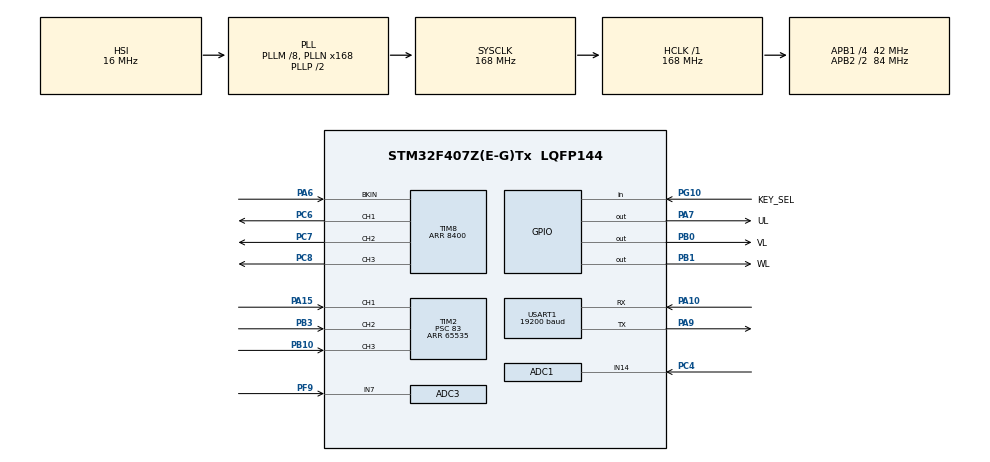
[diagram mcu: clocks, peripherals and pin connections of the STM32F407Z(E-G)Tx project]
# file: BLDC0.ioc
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ADC1.Channel-0\#ChannelRegularConversion=ADC_CHANNEL_14
ADC1.ContinuousConvMode=ENABLE
ADC1.DMAContinuousRequests=ENABLE
ADC1.NbrOfConversionFlag=1
ADC1.Rank-0\#ChannelRegularConversion=1
ADC1.SamplingTime-0\#ChannelRegularConversion=ADC_SAMPLETIME_3CYCLES
ADC1.master=1
ADC3.Channel-1\#ChannelRegularConversion=ADC_CHANNEL_7
ADC3.DMAContinuousRequests=ENABLE
ADC3.NbrOfConversionFlag=1
ADC3.Rank-1\#ChannelRegularConversion=1
ADC3.SamplingTime-1\#ChannelRegularConversion=ADC_SAMPLETIME_3CYCLES
Dma.ADC1.1.Direction=DMA_PERIPH_TO_MEMORY
Dma.ADC1.1.FIFOMode=DMA_FIFOMODE_DISABLE
Dma.ADC1.1.Instance=DMA2_Stream0
Dma.ADC1.1.MemDataAlignment=DMA_MDATAALIGN_HALFWORD
Dma.ADC1.1.MemInc=DMA_MINC_ENABLE
Dma.ADC1.1.Mode=DMA_CIRCULAR
Dma.ADC1.1.PeriphDataAlignment=DMA_PDATAALIGN_HALFWORD
Dma.ADC1.1.PeriphInc=DMA_PINC_DISABLE
Dma.ADC1.1.Priority=DMA_PRIORITY_HIGH
Dma.ADC3.0.Direction=DMA_PERIPH_TO_MEMORY
Dma.ADC3.0.FIFOMode=DMA_FIFOMODE_DISABLE
Dma.ADC3.0.Instance=DMA2_Stream1
Dma.ADC3.0.MemDataAlignment=DMA_MDATAALIGN_HALFWORD
Dma.ADC3.0.MemInc=DMA_MINC_ENABLE
Dma.ADC3.0.Mode=DMA_CIRCULAR
Dma.ADC3.0.PeriphDataAlignment=DMA_PDATAALIGN_HALFWORD
Dma.ADC3.0.PeriphInc=DMA_PINC_DISABLE
Dma.ADC3.0.Priority=DMA_PRIORITY_HIGH
Dma.Request0=ADC3
Dma.Request1=ADC1
Mcu.Family=STM32F4
Mcu.Name=STM32F407Z(E-G)Tx
Mcu.Package=LQFP144
NVIC.DMA2_Stream0_IRQn=true\:0\:0\:false\:false\:true\:false\:true\:true
NVIC.DMA2_Stream1_IRQn=true\:0\:0\:false\:false\:true\:false\:true\:true
NVIC.PriorityGroup=NVIC_PRIORITYGROUP_4
NVIC.TIM2_IRQn=true\:0\:0\:false\:false\:true\:true\:true\:true
NVIC.TIM3_IRQn=true\:0\:0\:false\:false\:true\:true\:true\:true
NVIC.TIM8_BRK_TIM12_IRQn=true\:0\:0\:false\:false\:true\:true\:true\:true
NVIC.USART1_IRQn=true\:0\:0\:false\:false\:true\:true\:true\:true
PA10.Mode=Asynchronous
PA10.Signal=USART1_RX
PA13.Mode=Serial_Wire
PA13.Signal=SYS_JTMS-SWDIO
PA14.Mode=Serial_Wire
PA14.Signal=SYS_JTCK-SWCLK
PA15.GPIO_Speed=GPIO_SPEED_FREQ_HIGH
PA15.Signal=S_TIM2_CH1_ETR
PA6.Mode=Activate-Break-Input
PA6.Signal=TIM8_BKIN
PA7.GPIO_Label=UL
PA7.GPIO_PuPd=GPIO_PULLUP
PA7.GPIO_Speed=GPIO_SPEED_FREQ_VERY_HIGH
PA7.Signal=GPIO_Output
PA9.Mode=Asynchronous
PA9.Signal=USART1_TX
PB0.GPIO_Label=VL
PB0.GPIO_PuPd=GPIO_PULLUP
PB0.GPIO_Speed=GPIO_SPEED_FREQ_VERY_HIGH
PB0.Signal=GPIO_Output
PB1.GPIO_Label=WL
PB1.GPIO_PuPd=GPIO_PULLUP
PB1.GPIO_Speed=GPIO_SPEED_FREQ_VERY_HIGH
PB1.Signal=GPIO_Output
PB10.GPIO_Speed=GPIO_SPEED_FREQ_HIGH
PB10.Signal=S_TIM2_CH3
PB3.GPIO_Speed=GPIO_SPEED_FREQ_HIGH
PB3.Signal=S_TIM2_CH2
PC4.Signal=ADCx_IN14
PC6.GPIO_Speed=GPIO_SPEED_FREQ_VERY_HIGH
PC6.Signal=S_TIM8_CH1
PC7.GPIO_Speed=GPIO_SPEED_FREQ_VERY_HIGH
PC7.Signal=S_TIM8_CH2
PC8.GPIO_Speed=GPIO_SPEED_FREQ_VERY_HIGH
PC8.Signal=S_TIM8_CH3
PF9.Mode=IN7
PF9.Signal=ADC3_IN7
PG10.GPIO_Label=KEY_SEL
PG10.GPIO_PuPd=GPIO_PULLUP
PG10.Signal=GPIO_Input
PH0-OSC_IN.Signal=RCC_OSC_IN
PH1-OSC_OUT.Signal=RCC_OSC_OUT
ProjectManager.HeapSize=0x200
ProjectManager.StackSize=0x400
ProjectManager.TargetToolchain=MDK-ARM V5
RCC.48MHZClocksFreq_Value=84000000
RCC.AHBFreq_Value=168000000
RCC.APB1CLKDivider=RCC_HCLK_DIV4
RCC.APB1Freq_Value=42000000
RCC.APB1TimFreq_Value=84000000
RCC.APB2CLKDivider=RCC_HCLK_DIV2
RCC.APB2Freq_Value=84000000
RCC.APB2TimFreq_Value=168000000
RCC.CortexFreq_Value=168000000
RCC.HCLKFreq_Value=168000000
RCC.HSE_VALUE=25000000
RCC.HSI_VALUE=16000000
RCC.LSE_VALUE=32768
RCC.PLLM=8
RCC.PLLN=168
RCC.SYSCLKFreq_VALUE=168000000
RCC.SYSCLKSource=RCC_SYSCLKSOURCE_PLLCLK
RCC.VCOOutputFreq_Value=336000000
SH.ADCx_IN14.0=ADC1_IN14,IN14
SH.S_TIM2_CH1_ETR.0=TIM2_CH1,Input_Capture1_from_TI1
SH.S_TIM2_CH2.0=TIM2_CH2,Input_Capture2_from_TI2
SH.S_TIM2_CH3.0=TIM2_CH3,Input_Capture3_from_TI3
SH.S_TIM8_CH1.0=TIM8_CH1,PWM Generation1 CH1
SH.S_TIM8_CH2.0=TIM8_CH2,PWM Generation2 CH2
SH.S_TIM8_CH3.0=TIM8_CH3,PWM Generation3 CH3
TIM2.AutoReloadPreload=TIM_AUTORELOAD_PRELOAD_ENABLE
TIM2.Channel-Input_Capture1_from_TI1=TIM_CHANNEL_1
TIM2.Channel-Input_Capture2_from_TI2=TIM_CHANNEL_2
TIM2.Channel-Input_Capture3_from_TI3=TIM_CHANNEL_3
TIM2.ICFilter_CH1=8
TIM2.ICFilter_CH2=8
TIM2.ICFilter_CH3=8
TIM2.ICPolarity_CH1=TIM_INPUTCHANNELPOLARITY_BOTHEDGE
TIM2.ICPolarity_CH2=TIM_INPUTCHANNELPOLARITY_BOTHEDGE
TIM2.ICPolarity_CH3=TIM_INPUTCHANNELPOLARITY_BOTHEDGE
TIM2.Period=65535
TIM2.Prescaler=83
TIM3.AutoReloadPreload=TIM_AUTORELOAD_PRELOAD_ENABLE
TIM3.Period=9
TIM3.Prescaler=8399
TIM8.AutoReloadPreload=TIM_AUTORELOAD_PRELOAD_ENABLE
TIM8.BreakPolarity=TIM_BREAKPOLARITY_LOW
TIM8.Channel-PWM\ Generation1\ CH1=TIM_CHANNEL_1
TIM8.Channel-PWM\ Generation2\ CH2=TIM_CHANNEL_2
TIM8.Channel-PWM\ Generation3\ CH3=TIM_CHANNEL_3
TIM8.OffStateIDLEMode=TIM_OSSI_ENABLE
TIM8.OffStateRunMode=TIM_OSSR_ENABLE
TIM8.Period=8400
USART1.BaudRate=19200
USART1.VirtualMode=VM_ASYNC
VP_TIM2_VS_ClockSourceINT.Mode=Internal
VP_TIM2_VS_XOR.Mode=XOR_enable
VP_TIM3_VS_ClockSourceINT.Mode=Internal
VP_TIM8_VS_ClockSourceINT.Mode=Internal
board=custom

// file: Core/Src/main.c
/* USER CODE BEGIN Header */
/**
  ******************************************************************************
  * @file           : main.c
  * @brief          : Main program body
  ******************************************************************************
  * @attention
  *
  * Copyright (c) 2022 STMicroelectronics.
  * All rights reserved.
  *
  * This software is licensed under terms that can be found in the LICENSE file
  * in the root directory of this software component.
  * If no LICENSE file comes with this software, it is provided AS-IS.
  *
  ******************************************************************************
  */
/* USER CODE END Header */
#include "main.h"

/* USER CODE BEGIN Includes */
#include "stm32_2.8_lcd.h"
#include "pid.h"
#include <stdio.h>
#include <string.h>
//#include "pid.h"
/* USER CODE END Includes */

/* USER CODE BEGIN PD */
#define TIM8_CH1_ON HAL_TIM_PWM_Start(&htim8,TIM_CHANNEL_1)
#define TIM8_CH2_ON HAL_TIM_PWM_Start(&htim8,TIM_CHANNEL_2)
#define TIM8_CH3_ON HAL_TIM_PWM_Start(&htim8,TIM_CHANNEL_3)

#define TIM8_CH1_OFF HAL_TIM_PWM_Stop(&htim8,TIM_CHANNEL_1)
#define TIM8_CH2_OFF HAL_TIM_PWM_Stop(&htim8,TIM_CHANNEL_2)
#define TIM8_CH3_OFF HAL_TIM_PWM_Stop(&htim8,TIM_CHANNEL_3)

#define GPIO_OUT1_ON HAL_GPIO_WritePin(UL_GPIO_Port,UL_Pin,GPIO_PIN_SET);
#define GPIO_OUT1_OFF HAL_GPIO_WritePin(UL_GPIO_Port,UL_Pin,GPIO_PIN_RESET);
#define GPIO_OUT2_ON HAL_GPIO_WritePin(VL_GPIO_Port,VL_Pin,GPIO_PIN_SET);
#define GPIO_OUT2_OFF HAL_GPIO_WritePin(VL_GPIO_Port,VL_Pin,GPIO_PIN_RESET);
#define GPIO_OUT3_ON HAL_GPIO_WritePin(WL_GPIO_Port,WL_Pin,GPIO_PIN_SET);
#define GPIO_OUT3_OFF HAL_GPIO_WritePin(WL_GPIO_Port,WL_Pin,GPIO_PIN_RESET);

#define MIN 0
#define T 	10

/* USER CODE END PD */

HAL_StatusTypeDef har_status1=HAL_OK;
HAL_StatusTypeDef har_status2;

ADC_HandleTypeDef hadc1;
ADC_HandleTypeDef hadc3;
DMA_HandleTypeDef hdma_adc1;
DMA_HandleTypeDef hdma_adc3;

TIM_HandleTypeDef htim2;
TIM_HandleTypeDef htim3;
TIM_HandleTypeDef htim8;

UART_HandleTypeDef huart1;

/* USER CODE BEGIN PV */

uint8_t state=0;
uint8_t hall_a;
uint8_t hall_b;
uint8_t hall_c;
uint32_t ADC_ConvertedValue;
uint32_t vbuf;
float Voltage;
float speed=0;
int cnt=0;
uint16_t k=0;
double RV1=7.32;
double RV2=1120;
uint32_t tim2cnt=0;
uint16_t pid_cnt=0;
/* USER CODE END PV */

void SystemClock_Config(void);
static void MX_GPIO_Init(void);
static void MX_DMA_Init(void);
static void MX_ADC1_Init(void);
static void MX_ADC3_Init(void);
static void MX_TIM2_Init(void);
static void MX_TIM3_Init(void);
static void MX_TIM8_Init(void);
static void MX_USART1_UART_Init(void);

int main(void)
{

  /* MCU Configuration--------------------------------------------------------*/

  /* Reset of all peripherals, Initializes the Flash interface and the Systick. */
  HAL_Init();

  /* Configure the system clock */
  SystemClock_Config();

  /* Initialize all configured peripherals */
  MX_GPIO_Init();
  MX_DMA_Init();
  MX_ADC1_Init();
  MX_ADC3_Init();
  MX_TIM2_Init();
  MX_TIM3_Init();
  MX_TIM8_Init();
  MX_USART1_UART_Init();
  /* USER CODE BEGIN 2 */

	/*******初始化操作******/

	HAL_NVIC_DisableIRQ(DMA2_Stream0_IRQn);
	__HAL_TIM_ENABLE_IT(&htim8,TIM_IT_BREAK);

	HAL_TIM_IC_Start_IT(&htim2,TIM_CHANNEL_1);
	HAL_TIM_IC_Start_IT(&htim2,TIM_CHANNEL_2);
	HAL_TIM_IC_Start_IT(&htim2,TIM_CHANNEL_3);

	HAL_TIM_PWM_Start(&htim8,TIM_CHANNEL_1);
	HAL_TIM_PWM_Start(&htim8,TIM_CHANNEL_2);
	HAL_TIM_PWM_Start(&htim8,TIM_CHANNEL_3);

	HAL_TIM_Base_Start_IT(&htim3);

	STM32_LCD_Init();
	LCD_Clear(BackColor);
	LCD_SetTextColor(Blue);
	ADC_ConvertedValue=0;

	LCD_DisplayStringLine(0,"RP:");
	LCD_DisplayStringLine(2,"PWM:");
	LCD_DisplayStringLine(4,"EXPECTED SPEED:");
	LCD_DisplayStringLine(6,"SPEED:");
	LCD_DisplayStringLine(8,"VOLTAGE:");

  /* USER CODE END 2 */

  /* Infinite loop */
  /* USER CODE BEGIN WHILE */
  while (1)
  {
		//读取adc3的值，得到电位器数值
		har_status1=HAL_ADC_Start_DMA(&hadc3,&ADC_ConvertedValue,1);

		//根据PID控制器输出设置PWM占空比
		if(har_status1==HAL_OK){
			if(ADC_ConvertedValue>MIN){
				__HAL_TIM_SetCompare(&htim8, TIM_CHANNEL_1, PWM_u);
				__HAL_TIM_SetCompare(&htim8, TIM_CHANNEL_2, PWM_u);
				__HAL_TIM_SetCompare(&htim8, TIM_CHANNEL_3, PWM_u);
			}
			else{
				__HAL_TIM_SetCompare(&htim8, TIM_CHANNEL_1, MIN);
				__HAL_TIM_SetCompare(&htim8, TIM_CHANNEL_2, MIN);
				__HAL_TIM_SetCompare(&htim8, TIM_CHANNEL_3, MIN);
			}
		}

		//读取adc1的值，得到母线电压原始数据
		har_status2=HAL_ADC_Start_DMA(&hadc1,&vbuf,1);
		//根据原始数据计算母线电压的值
		if(har_status2==HAL_OK){
			Voltage =vbuf/4096.0f*3300.0f/RV1*(RV1+RV2);
		}

		//检测按键是否按下
		if(HAL_GPIO_ReadPin(KEY_SEL_GPIO_Port,KEY_SEL_Pin)==GPIO_PIN_RESET){
			//按键消抖
			HAL_Delay(5);
			if(HAL_GPIO_ReadPin(KEY_SEL_GPIO_Port,KEY_SEL_Pin)==GPIO_PIN_RESET){
				//改变电机的启停状态
				state=1-state;
				//状态为1，启动电机
				if(state==1){
					HAL_TIM_IC_CaptureCallback(&htim2);
					HAL_Delay(5);
					HAL_TIM_IC_CaptureCallback(&htim2);
				}
			}
		}

		//向上位机发送期望速度和实际速度
		printf("%f,%f\r\n",r,y);

		//每进入main循环500次，更新LCD显示内容
		if(k==20){
			LCD_Draw_NUM(20,200,ADC_ConvertedValue);//显示电位器的值
			LCD_Draw_NUM(70,200,PWM_u*100/8400);//显示占空比
			LCD_Draw_NUM(120,200,r);//显示期望速度
			LCD_Draw_NUM(170,200,speed);//显示实际速度
			LCD_Draw_NUM(220,200,Voltage);//显示母线电压

			k=0;
		}
		else{
			k++;
		}

    /* USER CODE END WHILE */

  }
}

void SystemClock_Config(void)
{
  RCC_OscInitTypeDef RCC_OscInitStruct = {0};
  RCC_ClkInitTypeDef RCC_ClkInitStruct = {0};

  /** Configure the main internal regulator output voltage
  */
  __HAL_RCC_PWR_CLK_ENABLE();
  __HAL_PWR_VOLTAGESCALING_CONFIG(PWR_REGULATOR_VOLTAGE_SCALE1);

  /** Initializes the RCC Oscillators according to the specified parameters
  * in the RCC_OscInitTypeDef structure.
  */
  RCC_OscInitStruct.OscillatorType = RCC_OSCILLATORTYPE_HSI;
  RCC_OscInitStruct.HSIState = RCC_HSI_ON;
  RCC_OscInitStruct.HSICalibrationValue = RCC_HSICALIBRATION_DEFAULT;
  RCC_OscInitStruct.PLL.PLLState = RCC_PLL_ON;
  RCC_OscInitStruct.PLL.PLLSource = RCC_PLLSOURCE_HSI;
  RCC_OscInitStruct.PLL.PLLM = 8;
  RCC_OscInitStruct.PLL.PLLN = 168;
  RCC_OscInitStruct.PLL.PLLP = RCC_PLLP_DIV2;
  RCC_OscInitStruct.PLL.PLLQ = 4;
  if (HAL_RCC_OscConfig(&RCC_OscInitStruct) != HAL_OK)
  {
    Error_Handler();
  }

  /** Initializes the CPU, AHB and APB buses clocks
  */
  RCC_ClkInitStruct.ClockType = RCC_CLOCKTYPE_HCLK|RCC_CLOCKTYPE_SYSCLK
                              |RCC_CLOCKTYPE_PCLK1|RCC_CLOCKTYPE_PCLK2;
  RCC_ClkInitStruct.SYSCLKSource = RCC_SYSCLKSOURCE_PLLCLK;
  RCC_ClkInitStruct.AHBCLKDivider = RCC_SYSCLK_DIV1;
  RCC_ClkInitStruct.APB1CLKDivider = RCC_HCLK_DIV4;
  RCC_ClkInitStruct.APB2CLKDivider = RCC_HCLK_DIV2;

  if (HAL_RCC_ClockConfig(&RCC_ClkInitStruct, FLASH_LATENCY_5) != HAL_OK)
  {
    Error_Handler();
  }
}

static void MX_ADC1_Init(void)
{

  ADC_ChannelConfTypeDef sConfig = {0};

  /** Configure the global features of the ADC (Clock, Resolution, Data Alignment and number of conversion)
  */
  hadc1.Instance = ADC1;
  hadc1.Init.ClockPrescaler = ADC_CLOCK_SYNC_PCLK_DIV4;
  hadc1.Init.Resolution = ADC_RESOLUTION_12B;
  hadc1.Init.ScanConvMode = DISABLE;
  hadc1.Init.ContinuousConvMode = ENABLE;
  hadc1.Init.DiscontinuousConvMode = DISABLE;
  hadc1.Init.ExternalTrigConvEdge = ADC_EXTERNALTRIGCONVEDGE_NONE;
  hadc1.Init.ExternalTrigConv = ADC_SOFTWARE_START;
  hadc1.Init.DataAlign = ADC_DATAALIGN_RIGHT;
  hadc1.Init.NbrOfConversion = 1;
  hadc1.Init.DMAContinuousRequests = ENABLE;
  hadc1.Init.EOCSelection = ADC_EOC_SINGLE_CONV;
  if (HAL_ADC_Init(&hadc1) != HAL_OK)
  {
    Error_Handler();
  }

  /** Configure for the selected ADC regular channel its corresponding rank in the sequencer and its sample time.
  */
  sConfig.Channel = ADC_CHANNEL_14;
  sConfig.Rank = 1;
  sConfig.SamplingTime = ADC_SAMPLETIME_3CYCLES;
  if (HAL_ADC_ConfigChannel(&hadc1, &sConfig) != HAL_OK)
  {
    Error_Handler();
  }

}

static void MX_ADC3_Init(void)
{

  ADC_ChannelConfTypeDef sConfig = {0};

  /** Configure the global features of the ADC (Clock, Resolution, Data Alignment and number of conversion)
  */
  hadc3.Instance = ADC3;
  hadc3.Init.ClockPrescaler = ADC_CLOCK_SYNC_PCLK_DIV4;
  hadc3.Init.Resolution = ADC_RESOLUTION_12B;
  hadc3.Init.ScanConvMode = DISABLE;
  hadc3.Init.ContinuousConvMode = DISABLE;
  hadc3.Init.DiscontinuousConvMode = DISABLE;
  hadc3.Init.ExternalTrigConvEdge = ADC_EXTERNALTRIGCONVEDGE_NONE;
  hadc3.Init.ExternalTrigConv = ADC_SOFTWARE_START;
  hadc3.Init.DataAlign = ADC_DATAALIGN_RIGHT;
  hadc3.Init.NbrOfConversion = 1;
  hadc3.Init.DMAContinuousRequests = ENABLE;
  hadc3.Init.EOCSelection = ADC_EOC_SINGLE_CONV;
  if (HAL_ADC_Init(&hadc3) != HAL_OK)
  {
    Error_Handler();
  }

  /** Configure for the selected ADC regular channel its corresponding rank in the sequencer and its sample time.
  */
  sConfig.Channel = ADC_CHANNEL_7;
  sConfig.Rank = 1;
  sConfig.SamplingTime = ADC_SAMPLETIME_3CYCLES;
  if (HAL_ADC_ConfigChannel(&hadc3, &sConfig) != HAL_OK)
  {
    Error_Handler();
  }

}

static void MX_TIM2_Init(void)
{

  TIM_ClockConfigTypeDef sClockSourceConfig = {0};
  TIM_MasterConfigTypeDef sMasterConfig = {0};
  TIM_IC_InitTypeDef sConfigIC = {0};

  htim2.Instance = TIM2;
  htim2.Init.Prescaler = 83;
  htim2.Init.CounterMode = TIM_COUNTERMODE_UP;
  htim2.Init.Period = 65535;
  htim2.Init.ClockDivision = TIM_CLOCKDIVISION_DIV1;
  htim2.Init.AutoReloadPreload = TIM_AUTORELOAD_PRELOAD_ENABLE;
  if (HAL_TIM_Base_Init(&htim2) != HAL_OK)
  {
    Error_Handler();
  }
  sClockSourceConfig.ClockSource = TIM_CLOCKSOURCE_INTERNAL;
  if (HAL_TIM_ConfigClockSource(&htim2, &sClockSourceConfig) != HAL_OK)
  {
    Error_Handler();
  }
  if (HAL_TIM_IC_Init(&htim2) != HAL_OK)
  {
    Error_Handler();
  }
  sMasterConfig.MasterOutputTrigger = TIM_TRGO_RESET;
  sMasterConfig.MasterSlaveMode = TIM_MASTERSLAVEMODE_DISABLE;
  if (HAL_TIMEx_MasterConfigSynchronization(&htim2, &sMasterConfig) != HAL_OK)
  {
    Error_Handler();
  }
  sConfigIC.ICPolarity = TIM_INPUTCHANNELPOLARITY_BOTHEDGE;
  sConfigIC.ICSelection = TIM_ICSELECTION_DIRECTTI;
  sConfigIC.ICPrescaler = TIM_ICPSC_DIV1;
  sConfigIC.ICFilter = 8;
  if (HAL_TIM_IC_ConfigChannel(&htim2, &sConfigIC, TIM_CHANNEL_1) != HAL_OK)
  {
    Error_Handler();
  }
  if (HAL_TIM_IC_ConfigChannel(&htim2, &sConfigIC, TIM_CHANNEL_2) != HAL_OK)
  {
    Error_Handler();
  }
  if (HAL_TIM_IC_ConfigChannel(&htim2, &sConfigIC, TIM_CHANNEL_3) != HAL_OK)
  {
    Error_Handler();
  }
  if (HAL_TIM_ConfigTI1Input(&htim2, TIM_TI1SELECTION_XORCOMBINATION) != HAL_OK)
  {
    Error_Handler();
  }

}

static void MX_TIM3_Init(void)
{

  TIM_ClockConfigTypeDef sClockSourceConfig = {0};
  TIM_MasterConfigTypeDef sMasterConfig = {0};

  htim3.Instance = TIM3;
  htim3.Init.Prescaler = 8399;
  htim3.Init.CounterMode = TIM_COUNTERMODE_UP;
  htim3.Init.Period = 9;
  htim3.Init.ClockDivision = TIM_CLOCKDIVISION_DIV1;
  htim3.Init.AutoReloadPreload = TIM_AUTORELOAD_PRELOAD_ENABLE;
  if (HAL_TIM_Base_Init(&htim3) != HAL_OK)
  {
    Error_Handler();
  }
  sClockSourceConfig.ClockSource = TIM_CLOCKSOURCE_INTERNAL;
  if (HAL_TIM_ConfigClockSource(&htim3, &sClockSourceConfig) != HAL_OK)
  {
    Error_Handler();
  }
  sMasterConfig.MasterOutputTrigger = TIM_TRGO_RESET;
  sMasterConfig.MasterSlaveMode = TIM_MASTERSLAVEMODE_DISABLE;
  if (HAL_TIMEx_MasterConfigSynchronization(&htim3, &sMasterConfig) != HAL_OK)
  {
    Error_Handler();
  }

}

static void MX_TIM8_Init(void)
{

  TIM_ClockConfigTypeDef sClockSourceConfig = {0};
  TIM_MasterConfigTypeDef sMasterConfig = {0};
  TIM_OC_InitTypeDef sConfigOC = {0};
  TIM_BreakDeadTimeConfigTypeDef sBreakDeadTimeConfig = {0};

  htim8.Instance = TIM8;
  htim8.Init.Prescaler = 0;
  htim8.Init.CounterMode = TIM_COUNTERMODE_UP;
  htim8.Init.Period = 8400;
  htim8.Init.ClockDivision = TIM_CLOCKDIVISION_DIV1;
  htim8.Init.RepetitionCounter = 0;
  htim8.Init.AutoReloadPreload = TIM_AUTORELOAD_PRELOAD_ENABLE;
  if (HAL_TIM_Base_Init(&htim8) != HAL_OK)
  {
    Error_Handler();
  }
  sClockSourceConfig.ClockSource = TIM_CLOCKSOURCE_INTERNAL;
  if (HAL_TIM_ConfigClockSource(&htim8, &sClockSourceConfig) != HAL_OK)
  {
    Error_Handler();
  }
  if (HAL_TIM_PWM_Init(&htim8) != HAL_OK)
  {
    Error_Handler();
  }
  sMasterConfig.MasterOutputTrigger = TIM_TRGO_RESET;
  sMasterConfig.MasterSlaveMode = TIM_MASTERSLAVEMODE_DISABLE;
  if (HAL_TIMEx_MasterConfigSynchronization(&htim8, &sMasterConfig) != HAL_OK)
  {
    Error_Handler();
  }
  sConfigOC.OCMode = TIM_OCMODE_PWM1;
  sConfigOC.Pulse = 0;
  sConfigOC.OCPolarity = TIM_OCPOLARITY_HIGH;
  sConfigOC.OCNPolarity = TIM_OCNPOLARITY_HIGH;
  sConfigOC.OCFastMode = TIM_OCFAST_DISABLE;
  sConfigOC.OCIdleState = TIM_OCIDLESTATE_RESET;
  sConfigOC.OCNIdleState = TIM_OCNIDLESTATE_RESET;
  if (HAL_TIM_PWM_ConfigChannel(&htim8, &sConfigOC, TIM_CHANNEL_1) != HAL_OK)
  {
    Error_Handler();
  }
  if (HAL_TIM_PWM_ConfigChannel(&htim8, &sConfigOC, TIM_CHANNEL_2) != HAL_OK)
  {
    Error_Handler();
  }
  if (HAL_TIM_PWM_ConfigChannel(&htim8, &sConfigOC, TIM_CHANNEL_3) != HAL_OK)
  {
    Error_Handler();
  }
  sBreakDeadTimeConfig.OffStateRunMode = TIM_OSSR_ENABLE;
  sBreakDeadTimeConfig.OffStateIDLEMode = TIM_OSSI_ENABLE;
  sBreakDeadTimeConfig.LockLevel = TIM_LOCKLEVEL_OFF;
  sBreakDeadTimeConfig.DeadTime = 0;
  sBreakDeadTimeConfig.BreakState = TIM_BREAK_ENABLE;
  sBreakDeadTimeConfig.BreakPolarity = TIM_BREAKPOLARITY_LOW;
  sBreakDeadTimeConfig.AutomaticOutput = TIM_AUTOMATICOUTPUT_DISABLE;
  if (HAL_TIMEx_ConfigBreakDeadTime(&htim8, &sBreakDeadTimeConfig) != HAL_OK)
  {
    Error_Handler();
  }
  HAL_TIM_MspPostInit(&htim8);

}

static void MX_USART1_UART_Init(void)
{

  huart1.Instance = USART1;
  huart1.Init.BaudRate = 19200;
  huart1.Init.WordLength = UART_WORDLENGTH_8B;
  huart1.Init.StopBits = UART_STOPBITS_1;
  huart1.Init.Parity = UART_PARITY_NONE;
  huart1.Init.Mode = UART_MODE_TX_RX;
  huart1.Init.HwFlowCtl = UART_HWCONTROL_NONE;
  huart1.Init.OverSampling = UART_OVERSAMPLING_16;
  if (HAL_UART_Init(&huart1) != HAL_OK)
  {
    Error_Handler();
  }

}

static void MX_DMA_Init(void)
{

  /* DMA controller clock enable */
  __HAL_RCC_DMA2_CLK_ENABLE();

  /* DMA interrupt init */
  /* DMA2_Stream0_IRQn interrupt configuration */
  HAL_NVIC_SetPriority(DMA2_Stream0_IRQn, 0, 0);
  HAL_NVIC_EnableIRQ(DMA2_Stream0_IRQn);
  /* DMA2_Stream1_IRQn interrupt configuration */
  HAL_NVIC_SetPriority(DMA2_Stream1_IRQn, 0, 0);
  HAL_NVIC_EnableIRQ(DMA2_Stream1_IRQn);

}

static void MX_GPIO_Init(void)
{
  GPIO_InitTypeDef GPIO_InitStruct = {0};

  /* GPIO Ports Clock Enable */
  __HAL_RCC_GPIOF_CLK_ENABLE();
  __HAL_RCC_GPIOH_CLK_ENABLE();
  __HAL_RCC_GPIOA_CLK_ENABLE();
  __HAL_RCC_GPIOC_CLK_ENABLE();
  __HAL_RCC_GPIOB_CLK_ENABLE();
  __HAL_RCC_GPIOG_CLK_ENABLE();

  /*Configure GPIO pin Output Level */
  HAL_GPIO_WritePin(UL_GPIO_Port, UL_Pin, GPIO_PIN_RESET);

  /*Configure GPIO pin Output Level */
  HAL_GPIO_WritePin(GPIOB, VL_Pin|WL_Pin, GPIO_PIN_RESET);

  /*Configure GPIO pin : UL_Pin */
  GPIO_InitStruct.Pin = UL_Pin;
  GPIO_InitStruct.Mode = GPIO_MODE_OUTPUT_PP;
  GPIO_InitStruct.Pull = GPIO_PULLUP;
  GPIO_InitStruct.Speed = GPIO_SPEED_FREQ_VERY_HIGH;
  HAL_GPIO_Init(UL_GPIO_Port, &GPIO_InitStruct);

  /*Configure GPIO pins : VL_Pin WL_Pin */
  GPIO_InitStruct.Pin = VL_Pin|WL_Pin;
  GPIO_InitStruct.Mode = GPIO_MODE_OUTPUT_PP;
  GPIO_InitStruct.Pull = GPIO_PULLUP;
  GPIO_InitStruct.Speed = GPIO_SPEED_FREQ_VERY_HIGH;
  HAL_GPIO_Init(GPIOB, &GPIO_InitStruct);

  /*Configure GPIO pin : KEY_SEL_Pin */
  GPIO_InitStruct.Pin = KEY_SEL_Pin;
  GPIO_InitStruct.Mode = GPIO_MODE_INPUT;
  GPIO_InitStruct.Pull = GPIO_PULLUP;
  HAL_GPIO_Init(KEY_SEL_GPIO_Port, &GPIO_InitStruct);

}

/* USER CODE BEGIN 4 */
void HAL_TIM_IC_CaptureCallback(TIM_HandleTypeDef* htim){
	//PA15 a
	//PB3  b
	//PB10 c
	if(state==0){
		TIM8_CH1_OFF; TIM8_CH2_OFF; TIM8_CH3_OFF;
  GPIO_OUT1_OFF; GPIO_OUT2_OFF; GPIO_OUT3_OFF;
		return;
	}
	if(TIM2==htim->Instance){
		if(HAL_GPIO_ReadPin(GPIOB,GPIO_PIN_10)==GPIO_PIN_SET){
			hall_c=1;
		}
		else{
			hall_c=0;
		}
		if(HAL_GPIO_ReadPin(GPIOB,GPIO_PIN_3)==GPIO_PIN_SET){
			hall_b=1;
		}
		else{
			hall_b=0;
		}
		if(HAL_GPIO_ReadPin(GPIOA,GPIO_PIN_15)==GPIO_PIN_SET){
			hall_a=1;
		}
		else{
			hall_a=0;
		}
		if(hall_a==1 & hall_b==0 & hall_c==1)
		{
			TIM8_CH1_ON; TIM8_CH2_OFF; TIM8_CH3_OFF;
			GPIO_OUT1_OFF; GPIO_OUT2_ON; GPIO_OUT3_OFF;
		}
		else if(hall_a==1 & hall_b==0 & hall_c==0)
		{
			TIM8_CH1_ON; TIM8_CH2_OFF; TIM8_CH3_OFF;
			GPIO_OUT1_OFF; GPIO_OUT2_OFF; GPIO_OUT3_ON;
		}
		else if(hall_a==1 & hall_b==1 & hall_c==0)
		{
			TIM8_CH1_OFF; TIM8_CH2_ON; TIM8_CH3_OFF;
			GPIO_OUT1_OFF; GPIO_OUT2_OFF; GPIO_OUT3_ON;
		}
		else if(hall_a==0 & hall_b==1 & hall_c==0)
		{
			TIM8_CH1_OFF; TIM8_CH2_ON; TIM8_CH3_OFF;
			GPIO_OUT1_ON; GPIO_OUT2_OFF; GPIO_OUT3_OFF;
		}
		else if(hall_a==0 & hall_b==1 & hall_c==1)
		{
			TIM8_CH1_OFF; TIM8_CH2_OFF; TIM8_CH3_ON;
			GPIO_OUT1_ON; GPIO_OUT2_OFF; GPIO_OUT3_OFF;
		}
		else if(hall_a==0 & hall_b==0 & hall_c==1)
		{
			TIM8_CH1_OFF; TIM8_CH2_OFF; TIM8_CH3_ON;
			GPIO_OUT1_OFF; GPIO_OUT2_ON; GPIO_OUT3_OFF;

		}
		tim2cnt++;
		if(tim2cnt==15){
			float t=(float)cnt/15;
			speed = 24/t;
			cnt=0;
			tim2cnt=0;
		}
	}

}
void HAL_TIMEx_BreakCallback(TIM_HandleTypeDef *htim){
	if(htim->Instance==TIM8){
		TIM8_CH1_OFF; TIM8_CH2_OFF; TIM8_CH3_OFF;
			GPIO_OUT1_OFF; GPIO_OUT2_OFF; GPIO_OUT3_OFF;
		__HAL_TIM_DISABLE_IT(&htim8,TIM_IT_BREAK);
	}
}

void HAL_TIM_PeriodElapsedCallback(TIM_HandleTypeDef *htim)
{
	if(TIM3==htim->Instance){
		//计算霍尔元件电位变化时间间隔
		cnt++;
		//当时间间隔过大时，认为此时的电机速度为0
		if(cnt>800)speed=0.0;

		pid_cnt++;
		//到达采样周期时，进行PID输出的计算
		if(pid_cnt==T){
			pid_cnt=0;

			//计算期望的速度
			cal_r();
			//计算期望的PWM输出
			cal_PWM_r();
			//计算实际速度
			cal_y();
			//计算误差
			cal_e();
			//计算比例部分
			cal_p();
			//计算积分部分
			cal_i();
			//计算微分部分
			cal_d();
			//计算PID输出
			cal_u();
			//计算PWM输出
			cal_PWM_u();
		}
	}
}

/* USER CODE END 4 */

void Error_Handler(void)
{
  __disable_irq();
  while (1)
  {
  }
}
